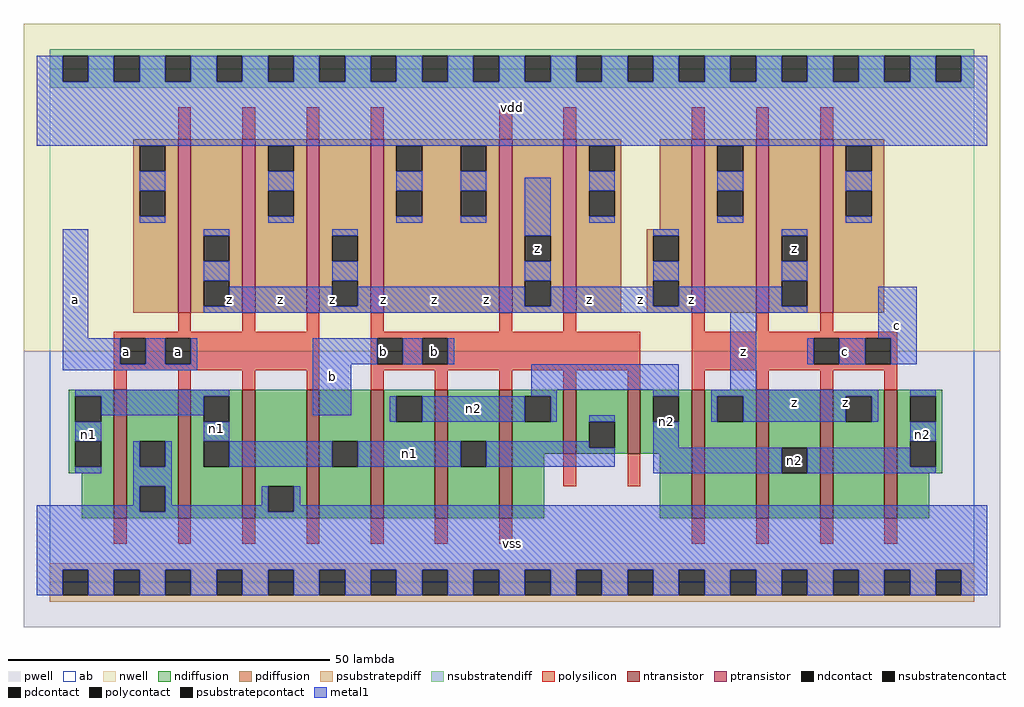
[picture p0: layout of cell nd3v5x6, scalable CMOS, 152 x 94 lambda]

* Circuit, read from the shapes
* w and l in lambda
.subckt nd3v5x6 a b c n1 n2 vdd vss z
M1 vss a n1 vss nfet w=20 l=2 m=4
M2 n2 b n1 vss nfet w=20 l=2 m=3
M3 n1 b n2 vss nfet w=10 l=2 m=2
M4 z c n2 vss nfet w=20 l=2 m=4
M5 z a vdd vdd pfet w=27 l=2 m=3
M6 vdd b z vdd pfet w=27 l=2 m=3
M7 vdd c z vdd pfet w=27 l=2 m=3
.ends

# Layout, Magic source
magic
tech scmos
<< ab >>
rect 0 0 144 80
<< pwell >>
rect -4 -7 148 36
<< nwell >>
rect -4 36 148 87
<< polysilicon >>
rect 20 69 22 74
rect 30 69 32 74
rect 40 69 42 74
rect 50 69 52 74
rect 70 69 72 74
rect 80 69 82 74
rect 100 69 102 74
rect 110 69 112 74
rect 120 69 122 74
rect 20 39 22 42
rect 30 39 32 42
rect 40 39 42 42
rect 10 38 42 39
rect 10 34 11 38
rect 15 34 18 38
rect 22 34 42 38
rect 10 33 42 34
rect 10 30 12 33
rect 20 30 22 33
rect 30 30 32 33
rect 40 30 42 33
rect 50 39 52 42
rect 70 39 72 42
rect 80 39 82 42
rect 100 39 102 42
rect 110 39 112 42
rect 120 39 122 42
rect 50 38 92 39
rect 50 34 51 38
rect 55 34 58 38
rect 62 34 92 38
rect 50 33 92 34
rect 50 30 52 33
rect 60 30 62 33
rect 70 30 72 33
rect 80 30 82 33
rect 90 30 92 33
rect 100 38 132 39
rect 100 34 119 38
rect 123 34 127 38
rect 131 34 132 38
rect 100 33 132 34
rect 100 30 102 33
rect 110 30 112 33
rect 120 30 122 33
rect 130 30 132 33
rect 80 15 82 20
rect 90 15 92 20
rect 10 6 12 10
rect 20 6 22 10
rect 30 6 32 10
rect 40 6 42 10
rect 50 6 52 10
rect 60 6 62 10
rect 70 6 72 10
rect 100 6 102 10
rect 110 6 112 10
rect 120 6 122 10
rect 130 6 132 10
<< ndiffusion >>
rect 3 29 10 30
rect 3 25 4 29
rect 8 25 10 29
rect 3 22 10 25
rect 3 18 4 22
rect 8 18 10 22
rect 3 17 10 18
rect 5 10 10 17
rect 12 22 20 30
rect 12 18 14 22
rect 18 18 20 22
rect 12 15 20 18
rect 12 11 14 15
rect 18 11 20 15
rect 12 10 20 11
rect 22 29 30 30
rect 22 25 24 29
rect 28 25 30 29
rect 22 22 30 25
rect 22 18 24 22
rect 28 18 30 22
rect 22 10 30 18
rect 32 15 40 30
rect 32 11 34 15
rect 38 11 40 15
rect 32 10 40 11
rect 42 22 50 30
rect 42 18 44 22
rect 48 18 50 22
rect 42 10 50 18
rect 52 29 60 30
rect 52 25 54 29
rect 58 25 60 29
rect 52 10 60 25
rect 62 22 70 30
rect 62 18 64 22
rect 68 18 70 22
rect 62 10 70 18
rect 72 29 80 30
rect 72 25 74 29
rect 78 25 80 29
rect 72 20 80 25
rect 82 25 90 30
rect 82 21 84 25
rect 88 21 90 25
rect 82 20 90 21
rect 92 29 100 30
rect 92 25 94 29
rect 98 25 100 29
rect 92 20 100 25
rect 72 10 77 20
rect 95 10 100 20
rect 102 29 110 30
rect 102 25 104 29
rect 108 25 110 29
rect 102 10 110 25
rect 112 21 120 30
rect 112 17 114 21
rect 118 17 120 21
rect 112 10 120 17
rect 122 29 130 30
rect 122 25 124 29
rect 128 25 130 29
rect 122 10 130 25
rect 132 29 139 30
rect 132 25 134 29
rect 138 25 139 29
rect 132 22 139 25
rect 132 18 134 22
rect 138 18 139 22
rect 132 17 139 18
rect 132 10 137 17
<< pdiffusion >>
rect 13 68 20 69
rect 13 64 14 68
rect 18 64 20 68
rect 13 61 20 64
rect 13 57 14 61
rect 18 57 20 61
rect 13 42 20 57
rect 22 54 30 69
rect 22 50 24 54
rect 28 50 30 54
rect 22 47 30 50
rect 22 43 24 47
rect 28 43 30 47
rect 22 42 30 43
rect 32 68 40 69
rect 32 64 34 68
rect 38 64 40 68
rect 32 61 40 64
rect 32 57 34 61
rect 38 57 40 61
rect 32 42 40 57
rect 42 54 50 69
rect 42 50 44 54
rect 48 50 50 54
rect 42 47 50 50
rect 42 43 44 47
rect 48 43 50 47
rect 42 42 50 43
rect 52 68 70 69
rect 52 64 54 68
rect 58 64 64 68
rect 68 64 70 68
rect 52 61 70 64
rect 52 57 54 61
rect 58 57 64 61
rect 68 57 70 61
rect 52 42 70 57
rect 72 54 80 69
rect 72 50 74 54
rect 78 50 80 54
rect 72 47 80 50
rect 72 43 74 47
rect 78 43 80 47
rect 72 42 80 43
rect 82 68 89 69
rect 82 64 84 68
rect 88 64 89 68
rect 82 61 89 64
rect 82 57 84 61
rect 88 57 89 61
rect 82 42 89 57
rect 95 55 100 69
rect 93 54 100 55
rect 93 50 94 54
rect 98 50 100 54
rect 93 47 100 50
rect 93 43 94 47
rect 98 43 100 47
rect 93 42 100 43
rect 102 68 110 69
rect 102 64 104 68
rect 108 64 110 68
rect 102 61 110 64
rect 102 57 104 61
rect 108 57 110 61
rect 102 42 110 57
rect 112 54 120 69
rect 112 50 114 54
rect 118 50 120 54
rect 112 47 120 50
rect 112 43 114 47
rect 118 43 120 47
rect 112 42 120 43
rect 122 68 130 69
rect 122 64 124 68
rect 128 64 130 68
rect 122 61 130 64
rect 122 57 124 61
rect 128 57 130 61
rect 122 42 130 57
<< metal1 >>
rect -2 78 2 82
rect 6 78 10 82
rect 14 78 18 82
rect 22 78 26 82
rect 30 78 34 82
rect 38 78 42 82
rect 46 78 50 82
rect 54 78 58 82
rect 62 78 66 82
rect 70 78 74 82
rect 78 78 82 82
rect 86 78 90 82
rect 94 78 98 82
rect 102 78 106 82
rect 110 78 114 82
rect 118 78 122 82
rect 126 78 130 82
rect 134 78 138 82
rect 142 78 146 82
rect -2 68 146 78
rect 14 61 18 64
rect 14 56 18 57
rect 34 61 38 64
rect 34 56 38 57
rect 54 61 58 64
rect 54 56 58 57
rect 64 61 68 64
rect 64 56 68 57
rect 2 38 6 55
rect 24 54 28 55
rect 24 47 28 50
rect 44 54 48 55
rect 44 47 48 50
rect 28 43 44 46
rect 74 54 78 63
rect 84 61 88 64
rect 84 56 88 57
rect 104 61 108 64
rect 104 56 108 57
rect 124 61 128 64
rect 124 56 128 57
rect 74 47 78 50
rect 48 43 74 46
rect 94 54 98 55
rect 94 47 98 50
rect 78 43 94 46
rect 114 54 118 55
rect 114 47 118 50
rect 98 43 114 46
rect 24 42 118 43
rect 2 34 11 38
rect 15 34 18 38
rect 22 34 23 38
rect 2 33 23 34
rect 41 34 51 38
rect 55 34 58 38
rect 62 34 63 38
rect 4 29 28 30
rect 8 26 24 29
rect 4 22 8 25
rect 41 26 47 34
rect 75 30 98 34
rect 106 30 110 42
rect 129 38 135 46
rect 118 34 119 38
rect 123 34 127 38
rect 131 34 135 38
rect 75 29 79 30
rect 53 25 54 29
rect 58 25 74 29
rect 78 25 79 29
rect 94 29 98 30
rect 84 25 88 26
rect 24 22 28 25
rect 4 17 8 18
rect 13 18 14 22
rect 18 18 19 22
rect 28 18 44 22
rect 48 18 64 22
rect 68 21 84 22
rect 68 18 88 21
rect 103 29 129 30
rect 103 25 104 29
rect 108 25 124 29
rect 128 25 129 29
rect 134 29 138 30
rect 94 21 98 25
rect 134 22 138 25
rect 13 15 19 18
rect 94 17 114 21
rect 118 18 134 21
rect 118 17 138 18
rect 13 12 14 15
rect -2 11 14 12
rect 18 12 19 15
rect 33 12 34 15
rect 18 11 34 12
rect 38 12 39 15
rect 38 11 146 12
rect -2 2 146 11
rect -2 -2 2 2
rect 6 -2 10 2
rect 14 -2 18 2
rect 22 -2 26 2
rect 30 -2 34 2
rect 38 -2 42 2
rect 46 -2 50 2
rect 54 -2 58 2
rect 62 -2 66 2
rect 70 -2 74 2
rect 78 -2 82 2
rect 86 -2 90 2
rect 94 -2 98 2
rect 102 -2 106 2
rect 110 -2 114 2
rect 118 -2 122 2
rect 126 -2 130 2
rect 134 -2 138 2
rect 142 -2 146 2
<< ntransistor >>
rect 10 10 12 30
rect 20 10 22 30
rect 30 10 32 30
rect 40 10 42 30
rect 50 10 52 30
rect 60 10 62 30
rect 70 10 72 30
rect 80 20 82 30
rect 90 20 92 30
rect 100 10 102 30
rect 110 10 112 30
rect 120 10 122 30
rect 130 10 132 30
<< ptransistor >>
rect 20 42 22 69
rect 30 42 32 69
rect 40 42 42 69
rect 50 42 52 69
rect 70 42 72 69
rect 80 42 82 69
rect 100 42 102 69
rect 110 42 112 69
rect 120 42 122 69
<< polycontact >>
rect 11 34 15 38
rect 18 34 22 38
rect 51 34 55 38
rect 58 34 62 38
rect 119 34 123 38
rect 127 34 131 38
<< ndcontact >>
rect 4 25 8 29
rect 4 18 8 22
rect 14 18 18 22
rect 14 11 18 15
rect 24 25 28 29
rect 24 18 28 22
rect 34 11 38 15
rect 44 18 48 22
rect 54 25 58 29
rect 64 18 68 22
rect 74 25 78 29
rect 84 21 88 25
rect 94 25 98 29
rect 104 25 108 29
rect 114 17 118 21
rect 124 25 128 29
rect 134 25 138 29
rect 134 18 138 22
<< pdcontact >>
rect 14 64 18 68
rect 14 57 18 61
rect 24 50 28 54
rect 24 43 28 47
rect 34 64 38 68
rect 34 57 38 61
rect 44 50 48 54
rect 44 43 48 47
rect 54 64 58 68
rect 64 64 68 68
rect 54 57 58 61
rect 64 57 68 61
rect 74 50 78 54
rect 74 43 78 47
rect 84 64 88 68
rect 84 57 88 61
rect 94 50 98 54
rect 94 43 98 47
rect 104 64 108 68
rect 104 57 108 61
rect 114 50 118 54
rect 114 43 118 47
rect 124 64 128 68
rect 124 57 128 61
<< psubstratepcontact >>
rect 2 -2 6 2
rect 10 -2 14 2
rect 18 -2 22 2
rect 26 -2 30 2
rect 34 -2 38 2
rect 42 -2 46 2
rect 50 -2 54 2
rect 58 -2 62 2
rect 66 -2 70 2
rect 74 -2 78 2
rect 82 -2 86 2
rect 90 -2 94 2
rect 98 -2 102 2
rect 106 -2 110 2
rect 114 -2 118 2
rect 122 -2 126 2
rect 130 -2 134 2
rect 138 -2 142 2
<< nsubstratencontact >>
rect 2 78 6 82
rect 10 78 14 82
rect 18 78 22 82
rect 26 78 30 82
rect 34 78 38 82
rect 42 78 46 82
rect 50 78 54 82
rect 58 78 62 82
rect 66 78 70 82
rect 74 78 78 82
rect 82 78 86 82
rect 90 78 94 82
rect 98 78 102 82
rect 106 78 110 82
rect 114 78 118 82
rect 122 78 126 82
rect 130 78 134 82
rect 138 78 142 82
<< psubstratepdiff >>
rect 0 2 144 3
rect 0 -2 2 2
rect 6 -2 10 2
rect 14 -2 18 2
rect 22 -2 26 2
rect 30 -2 34 2
rect 38 -2 42 2
rect 46 -2 50 2
rect 54 -2 58 2
rect 62 -2 66 2
rect 70 -2 74 2
rect 78 -2 82 2
rect 86 -2 90 2
rect 94 -2 98 2
rect 102 -2 106 2
rect 110 -2 114 2
rect 118 -2 122 2
rect 126 -2 130 2
rect 134 -2 138 2
rect 142 -2 144 2
rect 0 -3 144 -2
<< nsubstratendiff >>
rect 0 82 144 83
rect 0 78 2 82
rect 6 78 10 82
rect 14 78 18 82
rect 22 78 26 82
rect 30 78 34 82
rect 38 78 42 82
rect 46 78 50 82
rect 54 78 58 82
rect 62 78 66 82
rect 70 78 74 82
rect 78 78 82 82
rect 86 78 90 82
rect 94 78 98 82
rect 102 78 106 82
rect 110 78 114 82
rect 118 78 122 82
rect 126 78 130 82
rect 134 78 138 82
rect 142 78 144 82
rect 0 77 144 78
<< labels >>
rlabel metal1 6 23 6 23 6 n1
rlabel metal1 4 44 4 44 6 a
rlabel polycontact 12 36 12 36 6 a
rlabel polycontact 20 36 20 36 6 a
rlabel metal1 26 24 26 24 6 n1
rlabel metal1 44 32 44 32 6 b
rlabel metal1 28 44 28 44 6 z
rlabel metal1 44 44 44 44 6 z
rlabel metal1 52 44 52 44 6 z
rlabel polycontact 52 36 52 36 6 b
rlabel metal1 36 44 36 44 6 z
rlabel metal1 72 6 72 6 6 vss
rlabel metal1 66 27 66 27 6 n2
rlabel metal1 60 44 60 44 6 z
rlabel polycontact 60 36 60 36 6 b
rlabel metal1 84 44 84 44 6 z
rlabel metal1 68 44 68 44 6 z
rlabel pdcontact 76 52 76 52 6 z
rlabel metal1 72 74 72 74 6 vdd
rlabel metal1 56 20 56 20 6 n1
rlabel metal1 96 25 96 25 6 n2
rlabel metal1 92 44 92 44 6 z
rlabel metal1 100 44 100 44 6 z
rlabel metal1 108 36 108 36 6 z
rlabel metal1 116 28 116 28 6 z
rlabel ndcontact 116 19 116 19 6 n2
rlabel metal1 136 23 136 23 6 n2
rlabel metal1 124 28 124 28 6 z
rlabel metal1 132 40 132 40 6 c
rlabel metal1 124 36 124 36 6 c
rlabel pdcontact 116 52 116 52 6 z
<< end >>
